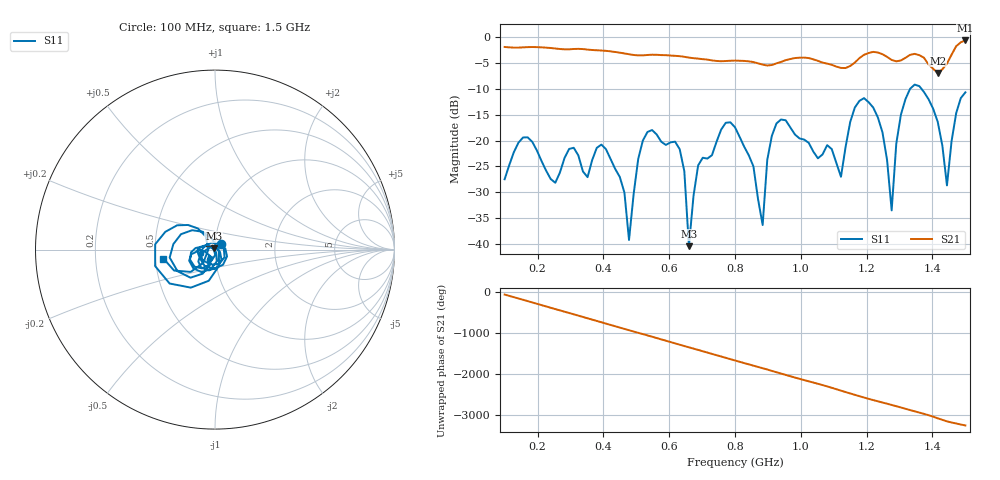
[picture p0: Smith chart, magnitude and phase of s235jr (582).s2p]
! NanoVNA-App
! Date: 2025-09-25 15:08:42
! Start: 100MHz Stop: 1,5GHz Points: 101
! S-Parameter data: F S11 S21 S12 S22
# Hz S RI R 50
!  Frequency  S11_Real  S11_Imag  S21_Real  S21_Imag  S12_Real  S12_Imag  S22_Real  S22_Imag
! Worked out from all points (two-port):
!   101 points, 100 MHz to 1.5 GHz, reference 50 ohm
!   highest |S21| = -0.71 dB at 1.5 GHz (marker M1); lowest = -7.0 dB at 1.416 GHz (marker M2)
!   |S21| within 3 dB of the highest: start of sweep to 625.7 MHz; 1.187 GHz to 1.258 GHz (70.74 MHz wide, 5.79 % of centre) (the widest 2 of 4)
!   lowest |S11| = -40.4 dB at 660 MHz (marker M3), VSWR 1.02, Z = 49.3 + j0.61 ohm
!   |S11| at or under -10 dB: start of sweep to 1.332 GHz; 1.366 GHz to end of sweep
!   S12 and S22 are empty: the file has one direction only
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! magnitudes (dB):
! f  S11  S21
! 100 MHz  -27.5  -2.0
! 156 MHz  -19.4  -2.0
! 338 MHz  -26.0  -2.4
! 408 MHz  -21.7  -2.7
! 478 MHz  -39.2  -3.4
! 520 MHz  -20.0  -3.6
! 576 MHz  -20.2  -3.5
! 632 MHz  -21.7  -3.7
! 660 MHz  -40.4  -4.0
! 688 MHz  -24.8  -4.2
! 800 MHz  -17.4  -4.6
! 884 MHz  -36.3  -5.4
! 926 MHz  -16.7  -5.1
! 1.038 GHz  -22.1  -4.4
! 1.122 GHz  -27.0  -6.0
! 1.192 GHz  -11.8  -3.5
! 1.248 GHz  -18.4  -3.4
! 1.276 GHz  -33.5  -4.5
! 1.332 GHz  -10.0  -3.5
! 1.416 GHz  -16.4  -7.0
! 1.444 GHz  -28.6  -5.2
! 1.5 GHz  -10.7  -0.7
